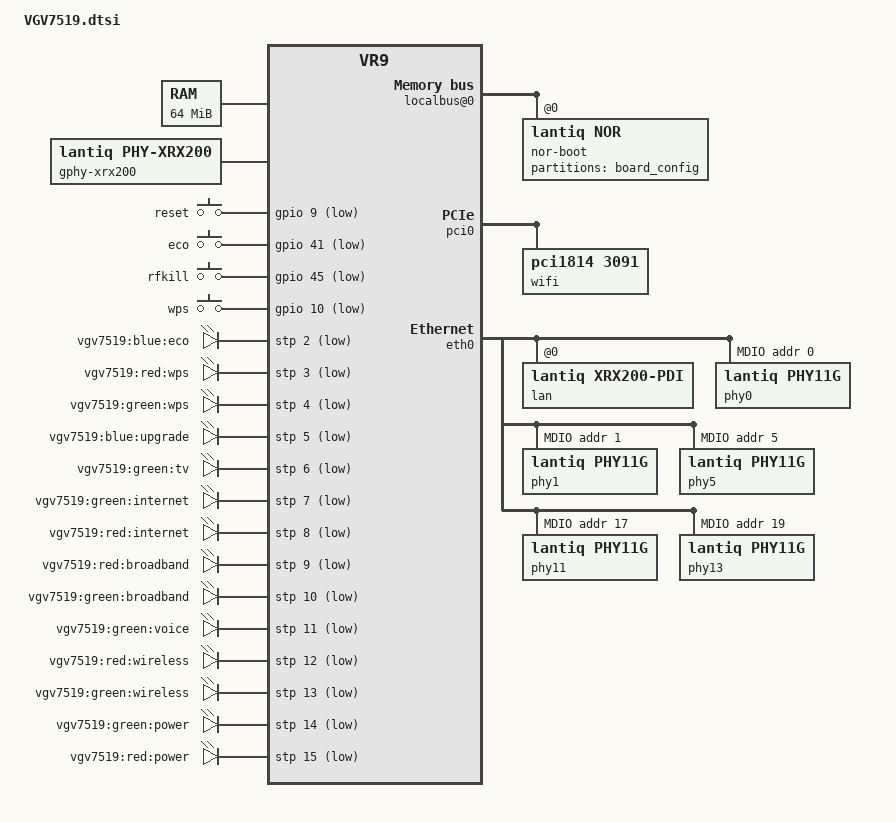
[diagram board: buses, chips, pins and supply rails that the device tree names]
#include "vr9.dtsi"

#include <dt-bindings/input/input.h>

/ {
	compatible = "arcadyan,vgv7519", "lantiq,xway", "lantiq,vr9";

	chosen {
		bootargs = "console=ttyLTQ0,115200 mem=62M vpe1_load_addr=0x83e00000 vpe1_mem=2M maxvpes=1 maxtcs=1 nosmp";
	};

	aliases {
		led-boot = &power_green;
		led-failsafe = &power_red;
		led-running = &power_green;

		led-dsl = &broadband_green;
		led-internet = &internet_green;
		led-wifi = &wireless_green;
	};

	sram@1F000000 {
	        vmmc@107000 {
	                status = "okay";
	                gpios = <&gpio 30 GPIO_ACTIVE_HIGH  //fxs relay
	                         &gpio 31 GPIO_ACTIVE_HIGH  //still unknown
	                         &gpio 3  GPIO_ACTIVE_HIGH>; //reset_slic?
	        };
	};

	memory@0 {
		reg = <0x0 0x4000000>;
	};

	fpi@10000000 {
		localbus@0 {
			nor-boot@0 {
				compatible = "lantiq,nor";
				bank-width = <2>;
				reg = <0 0x0 0x800000>, <1 0x800000 0x800000>;
				#address-cells = <1>;
				#size-cells = <1>;

				partitions {
					compatible = "fixed-partitions";
					#address-cells = <1>;
					#size-cells = <1>;

					boardconfig: partition@40000 {
						label = "board_config";
						reg = <0x40000 0x10000>;
						read-only;
					};
				};
			};
		};

		gpio: pinmux@E100B10 {
			pinctrl-names = "default";
			pinctrl-0 = <&state_default>;

			state_default: pinmux {
				stp {
					lantiq,groups = "stp";
					lantiq,function = "stp";
					lantiq,open-drain = <0>;
					lantiq,output = <1>;
					lantiq,pull = <0>;
				};
				mdio {
					lantiq,groups = "mdio";
					lantiq,function = "mdio";
				};
				pci-rst {
					lantiq,pins = "io21";
					lantiq,open-drain = <0>;
					lantiq,pull = <0>;
					lantiq,output = <1>;
				};
				gphy-leds {
					lantiq,groups = "gphy0 led1", "gphy1 led0";
					lantiq,function = "gphy";
					lantiq,open-drain = <0>;
					lantiq,pull = <0>;
					lantiq,output = <1>;
				};
			};
		};

		stp: stp@E100BB0 {
			compatible = "lantiq,gpio-stp-xway";
			reg = <0xE100BB0 0x40>;
			#gpio-cells = <2>;
			gpio-controller;

			lantiq,shadow = <0xffff>;
			lantiq,groups = <0x3>;
			lantiq,dsl = <0x0>;
			lantiq,phy1 = <0x0>;
			lantiq,phy2 = <0x0>;
			/* lantiq,rising; */
		};

		ifxhcd@E101000 {
			status = "okay";
			gpios = <&gpio 32 GPIO_ACTIVE_HIGH>;
			lantiq,portmask = <0x3>;
		};

		ifxhcd@E106000 {
			status = "okay";
			gpios = <&gpio 32 GPIO_ACTIVE_HIGH>;
		};

		pcie@d900000 {
			status = "disabled";
		};
	};

	gphy-xrx200 {
		compatible = "lantiq,phy-xrx200";
		firmware1 = "lantiq/vr9_phy11g_a1x.bin";	/*VR9 1.1*/
		firmware2 = "lantiq/vr9_phy11g_a2x.bin";	/*VR9 1.2*/
		phys = [ 00 01 ];
	};

	gpio-keys-polled {
		compatible = "gpio-keys-polled";
		#address-cells = <1>;
		#size-cells = <0>;
		poll-interval = <100>;
		reset {
			label = "reset";
			gpios = <&gpio 9 GPIO_ACTIVE_LOW>;
			linux,code = <KEY_RESTART>;
		};
		eco {
			label = "eco";
			gpios = <&gpio 41 GPIO_ACTIVE_LOW>;
			linux,code = <BTN_0>;
		};
		rfkill {
			label = "rfkill";
			gpios = <&gpio 45 GPIO_ACTIVE_LOW>;
			linux,code = <KEY_RFKILL>;
		};
		wps {
			label = "wps";
			gpios = <&gpio 10 GPIO_ACTIVE_LOW>;
			linux,code = <KEY_WPS_BUTTON>;
		};
	};

	gpio-leds {
		compatible = "gpio-leds";

		eco {
			label = "vgv7519:blue:eco";
			gpios = <&stp 2 GPIO_ACTIVE_LOW>;
		};
		wps_red {
			label = "vgv7519:red:wps";
			gpios = <&stp 3 GPIO_ACTIVE_LOW>;
		};
		wps_green {
			label = "vgv7519:green:wps";
			gpios = <&stp 4 GPIO_ACTIVE_LOW>;
		};
		upgrade {
			label = "vgv7519:blue:upgrade";
			gpios = <&stp 5 GPIO_ACTIVE_LOW>;
		};
		tv {
			label = "vgv7519:green:tv";
			gpios = <&stp 6 GPIO_ACTIVE_LOW>;
		};
		internet_green: internet_green {
			label = "vgv7519:green:internet";
			gpios = <&stp 7 GPIO_ACTIVE_LOW>;
		};
		internet_red {
			label = "vgv7519:red:internet";
			gpios = <&stp 8 GPIO_ACTIVE_LOW>;
		};
		broadband_red {
			label = "vgv7519:red:broadband";
			gpios = <&stp 9 GPIO_ACTIVE_LOW>;
		};
		broadband_green: broadband_green {
			label = "vgv7519:green:broadband";
			gpios = <&stp 10 GPIO_ACTIVE_LOW>;
		};
		voice {
			label = "vgv7519:green:voice";
			gpios = <&stp 11 GPIO_ACTIVE_LOW>;
		};
		wireless_red {
			label = "vgv7519:red:wireless";
			gpios = <&stp 12 GPIO_ACTIVE_LOW>;
		};
		wireless_green: wireless_green {
			label = "vgv7519:green:wireless";
			gpios = <&stp 13 GPIO_ACTIVE_LOW>;
		};
		power_green: power2 {
			label = "vgv7519:green:power";
			gpios = <&stp 14 GPIO_ACTIVE_LOW>;
			default-state = "keep";
		};
		power_red: power {
			label = "vgv7519:red:power";
			gpios = <&stp 15 GPIO_ACTIVE_LOW>;
		};
	};
};

&pci0 {
	status = "okay";
	gpio-reset = <&gpio 21 GPIO_ACTIVE_HIGH>;

	wifi@1814,3091 {
		compatible = "pci1814,3091";
		reg = <0x7000 0 0 0 0>;
		ralink,mtd-eeprom = <&boardconfig 0x410>;
		ralink,mtd-eeprom-swap;
		mtd-mac-address = <&boardconfig 0x16>;
		mtd-mac-address-increment = <1>;
	};
};

&eth0 {
	lan: interface@0 {
		compatible = "lantiq,xrx200-pdi";
		#address-cells = <1>;
		#size-cells = <0>;
		reg = <0>;
		mtd-mac-address = <&boardconfig 0x16>;
		mtd-mac-address-increment = <1>;
		lantiq,switch;

		ethernet@0 {
			compatible = "lantiq,xrx200-pdi-port";
			reg = <0>;
			phy-mode = "rgmii";
			phy-handle = <&phy0>;
		};
		ethernet@1 {
			compatible = "lantiq,xrx200-pdi-port";
			reg = <1>;
			phy-mode = "rgmii";
			phy-handle = <&phy1>;
		};
		ethernet@2 {
			compatible = "lantiq,xrx200-pdi-port";
			reg = <2>;
			phy-mode = "gmii";
			phy-handle = <&phy11>;
		};
		ethernet@4 {
			compatible = "lantiq,xrx200-pdi-port";
			reg = <4>;
			phy-mode = "gmii";
			phy-handle = <&phy13>;
		};
		ethernet@5 {
			compatible = "lantiq,xrx200-pdi-port";
			reg = <5>;
			phy-mode = "rgmii";
			phy-handle = <&phy5>;
		};
	};

	mdio@0 {
		#address-cells = <1>;
		#size-cells = <0>;
		compatible = "lantiq,xrx200-mdio";
		phy0: ethernet-phy@0 {
			reg = <0x0>;
			compatible = "lantiq,phy11g", "ethernet-phy-ieee802.3-c22";
		};
		phy1: ethernet-phy@1 {
			reg = <0x1>;
			compatible = "lantiq,phy11g", "ethernet-phy-ieee802.3-c22";
		};
		phy5: ethernet-phy@5 {
			reg = <0x5>;
			compatible = "lantiq,phy11g", "ethernet-phy-ieee802.3-c22";
		};
		phy11: ethernet-phy@11 {
			reg = <0x11>;
			compatible = "lantiq,phy11g", "ethernet-phy-ieee802.3-c22";
		};
		phy13: ethernet-phy@13 {
			reg = <0x13>;
			compatible = "lantiq,phy11g", "ethernet-phy-ieee802.3-c22";
		};
	};
};
